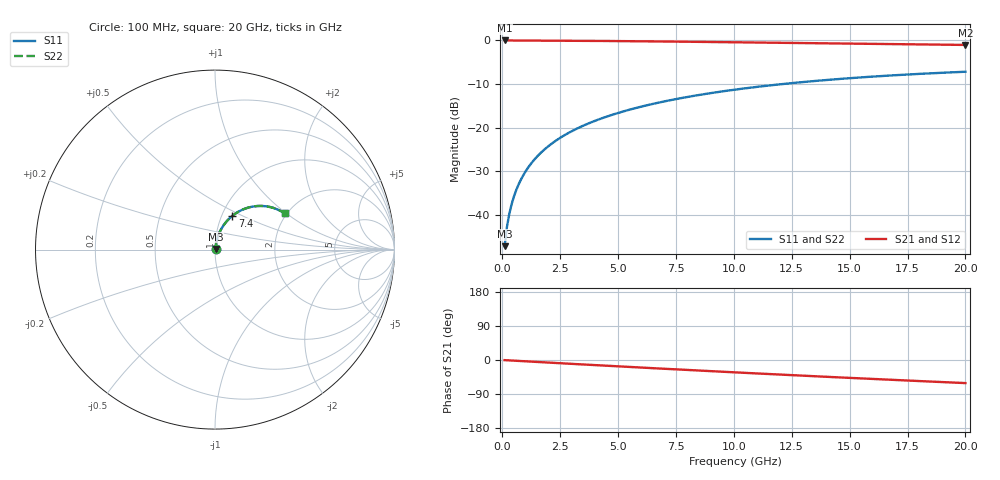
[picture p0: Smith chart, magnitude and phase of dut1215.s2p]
! Touchstone file exported from HFSS 2026.1.0
!  File:  C:/ffzhzh/LocalFiles/Ansys_Project_Files/temp_train_BSMRDL_1215_1783176719_18472.aedt
!  Generated:  10:53:28 PM Jul  4, 2026
!  Design:  BSMRDL
!  Project:  temp_train_BSMRDL_1215_1783176719_18472
! Variables:
!  h_bsmrdl = 5.54um
!  h_ox = 20um
!  h_rdl = 5um
!  h_sub = 80um
!  h_tmrdl = 5um
!  h_tsv = 80um
!  h_via = 3um
!  l_bsmrdl = 996.16um
!  l_sub = 1396.16um
!  l_tmrdl = 200um
!  m_sub = 200um
!  pitch = 50.21um
!  r_tsv = 6um
!  s_tmrdl = 10um
!  w_bsmrdl = 24.75um
!  w_sub = 500um
!  w_tmrdl = 12um
!  x_tsv_center1 = 206um
!  x_tsv_center2 = 1226.91um
!  x_tsv_center3 = 1438.91um
!  x_tsv_center4 = 2459.82um
!  x_tsv_center5 = 2671.82um
!  x_tsv_center6 = 3692.73um
# GHz S MA R 50.000000
! Terminal data exported
! Port[1] = BSM_RDL1_1_T1
! Port[2] = BSM_RDL1_1_T2
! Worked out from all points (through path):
!   200 points, 100 MHz to 20 GHz, reference 50 ohm
!   highest |S21| = -0.02 dB at 100 MHz (marker M1); lowest = -1.0 dB at 20 GHz (marker M2)
!   group delay of S21, straight-line fit = 8.45 ps
!   lowest |S11| = -47.1 dB at 100 MHz (marker M3), VSWR 1.01, Z = 50.3 + j0.343 ohm
!   |S11| at or under -10 dB: start of sweep to 12.1 GHz
!   |S22| runs from -47.1 to -7.2 dB; largest |S21 - S12| = 1.1e-14
!   S11 on the Smith chart (normalised r, x): 100 MHz: 1.01, +0.01; 7.4 GHz: 1.12, +0.44; 20 GHz: 1.95, +0.97
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0.1  0.004421 50.5  0.9972 -0.4  0.9972 -0.4  0.004421 50.5
! Gamma 0 0 0 0
! Port Impedance 50 0 50 0
0.2  0.007313 64.8  0.9969 -0.7  0.9969 -0.7  0.007312 64.8
0.3  0.01028 70.7  0.9967 -1.1  0.9967 -1.1  0.01028 70.7
0.4  0.01326 74.0  0.9966 -1.4  0.9966 -1.4  0.01326 74.0
0.5  0.01627 76.1  0.9965 -1.7  0.9965 -1.7  0.01627 76.1
0.7  0.02234 78.3  0.9962 -2.4  0.9962 -2.4  0.02234 78.3
0.8  0.02539 78.9  0.996 -2.8  0.996 -2.8  0.02539 78.9
1  0.0315 79.6  0.9957 -3.4  0.9957 -3.4  0.0315 79.6
1.2  0.03761 79.8  0.9954 -4.1  0.9954 -4.1  0.03761 79.8
1.4  0.0437 79.7  0.9949 -4.8  0.9949 -4.8  0.0437 79.7
1.7  0.0528 79.3  0.9942 -5.8  0.9942 -5.8  0.0528 79.4
2  0.06183 78.7  0.9933 -6.8  0.9933 -6.8  0.06183 78.7
2.7  0.08261 76.9  0.991 -9.2  0.991 -9.2  0.08261 77.0
3.5  0.1058 74.6  0.9879 -11.8  0.9879 -11.8  0.1058 74.6
4.2  0.1256 72.5  0.9848 -14.1  0.9848 -14.1  0.1256 72.6
5  0.1477 70.1  0.981 -16.7  0.981 -16.7  0.1477 70.1
6.8  0.1952 64.7  0.9714 -22.5  0.9714 -22.5  0.1952 64.7
7.4  0.2104 62.9  0.9678 -24.4  0.9678 -24.4  0.2104 62.9
10.1  0.2742 54.9  0.9506 -32.8  0.9506 -32.8  0.2741 54.9
13.4  0.3411 45.4  0.928 -42.6  0.928 -42.6  0.3411 45.5
16.7  0.3954 36.3  0.906 -52.0  0.906 -52.0  0.3954 36.3
20  0.4373 27.5  0.8866 -60.9  0.8866 -60.9  0.4372 27.6
